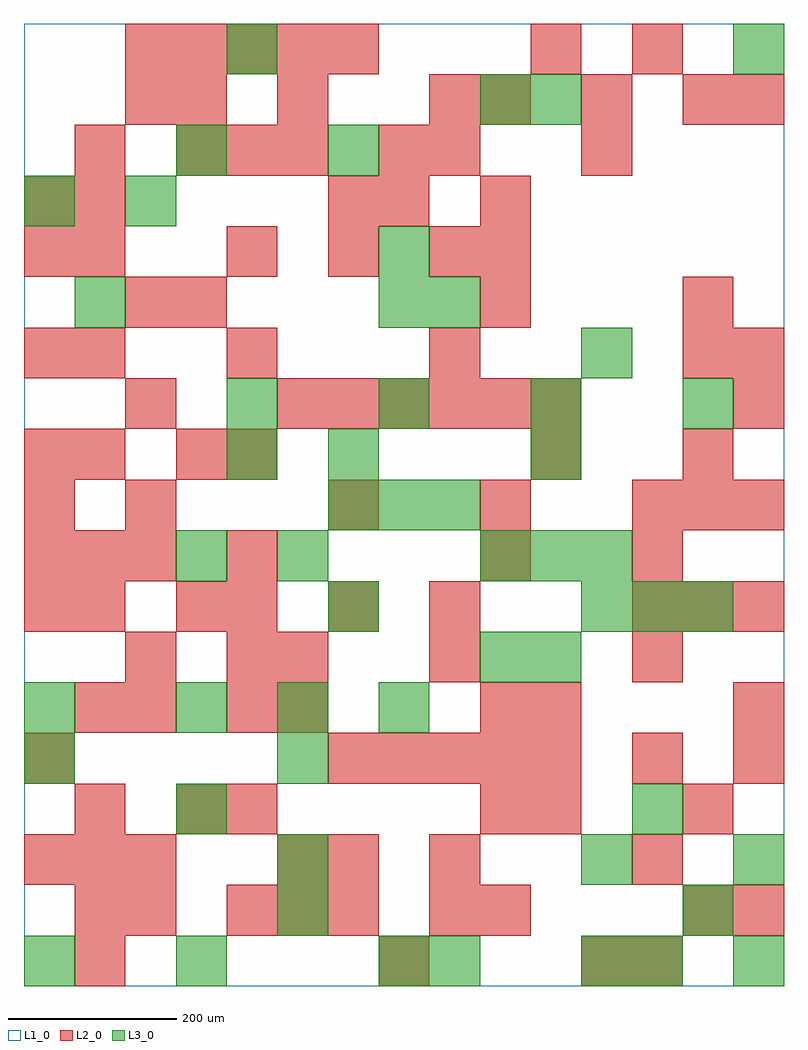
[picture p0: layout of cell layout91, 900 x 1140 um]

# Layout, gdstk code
import gdstk
lib = gdstk.Library(unit=1e-6, precision=1e-09)
def R(c, l, rs):  # rectangles x0, y0, x1, y1
    for r in rs: c.add(gdstk.rectangle(r[:2], r[2:], *l))
def A(c, l, x, y, w, h, nx, ny, dx, dy):  # array of equal rectangles
    R(c, l, [(x+i*dx, y+j*dy, x+i*dx+w, y+j*dy+h) for i in range(nx) for j in range(ny)])
L1_0 = (1, 0)
L2_0 = (2, 0)
L3_0 = (3, 0)

layout91 = lib.new_cell('layout91')
R(layout91, L1_0, [(0,0,900,1140)])
A(layout91, L2_0, 720, 0, 60, 60, 1, 5, 0, 120)
A(layout91, L2_0, 60, 60, 60, 60, 1, 4, 0, 120)
A(layout91, L2_0, 240, 60, 60, 60, 3, 1, 60, 0)
A(layout91, L2_0, 540, 60, 60, 60, 1, 3, 0, 120)
A(layout91, L2_0, 0, 120, 60, 60, 3, 2, 60, 360)
A(layout91, L2_0, 360, 240, 60, 60, 5, 1, 60, 0)
A(layout91, L2_0, 240, 360, 60, 60, 1, 4, 0, 120)
A(layout91, L2_0, 180, 420, 60, 60, 1, 3, 0, 180)
A(layout91, L2_0, 240, 420, 60, 60, 3, 2, 120, 420)
A(layout91, L2_0, 720, 420, 60, 60, 3, 1, 60, 0)
A(layout91, L2_0, 120, 540, 60, 60, 1, 3, 0, 120)
A(layout91, L2_0, 360, 540, 60, 60, 3, 1, 180, 0)
A(layout91, L2_0, 0, 600, 60, 60, 1, 3, 0, 120)
A(layout91, L2_0, 60, 600, 60, 60, 1, 3, 0, 120)
A(layout91, L2_0, 300, 660, 60, 60, 6, 1, 60, 0)
A(layout91, L2_0, 540, 780, 60, 60, 1, 3, 0, 60)
A(layout91, L2_0, 180, 960, 60, 60, 3, 1, 60, 0)
A(layout91, L2_0, 540, 1020, 60, 60, 3, 1, 120, 0)
A(layout91, L2_0, 120, 1080, 60, 60, 5, 1, 60, 0)
R(layout91, L2_0, [(60,0,120,60), (420,0,480,60), (660,0,720,60), (120,60,180,120), (480,60,540,120), (780,60,840,120), (840,60,900,120), (300,120,360,180), (360,120,420,180), (480,120,540,180), (180,180,240,240), (240,180,300,240), (600,180,660,240), (780,180,840,240), (0,240,60,300), (840,240,900,300), (120,300,180,360), (240,300,300,360), (300,300,360,360), (600,300,660,360), (840,300,900,360), (120,360,180,420), (300,360,360,420), (480,360,540,420), (0,420,60,480), (540,480,600,540), (0,540,60,600), (780,540,840,600), (840,540,900,600), (600,600,660,660), (780,600,840,660), (840,660,900,720), (480,720,540,780), (780,720,840,780), (840,720,900,780), (780,780,840,840), (0,900,60,960), (60,900,120,960), (360,900,420,960), (420,900,480,960), (60,960,120,1020), (420,960,480,1020), (480,960,540,1020), (660,960,720,1020), (120,1020,180,1080), (180,1020,240,1080), (300,1020,360,1080), (480,1020,540,1080), (840,1020,900,1080), (600,1080,660,1140), (720,1080,780,1140)])
A(layout91, L3_0, 180, 300, 60, 60, 3, 1, 120, 0)
A(layout91, L3_0, 660, 420, 60, 60, 3, 1, 60, 0)
A(layout91, L3_0, 540, 480, 60, 60, 3, 1, 60, 0)
A(layout91, L3_0, 360, 540, 60, 60, 3, 1, 60, 0)
A(layout91, L3_0, 240, 660, 60, 60, 4, 1, 180, 0)
R(layout91, L3_0, [(0,0,60,60), (180,0,240,60), (420,0,480,60), (480,0,540,60), (660,0,720,60), (720,0,780,60), (840,0,900,60), (300,60,360,120), (780,60,840,120), (300,120,360,180), (660,120,720,180), (840,120,900,180), (180,180,240,240), (720,180,780,240), (0,240,60,300), (300,240,360,300), (0,300,60,360), (540,360,600,420), (600,360,660,420), (360,420,420,480), (180,480,240,540), (300,480,360,540), (240,600,300,660), (360,600,420,660), (600,600,660,660), (660,720,720,780), (60,780,120,840), (420,780,480,840), (480,780,540,840), (420,840,480,900), (0,900,60,960), (120,900,180,960), (180,960,240,1020), (360,960,420,1020), (540,1020,600,1080), (600,1020,660,1080), (240,1080,300,1140), (840,1080,900,1140)])

lib.write_gds('layout91.gds')
